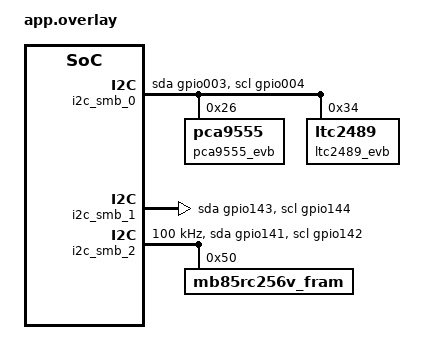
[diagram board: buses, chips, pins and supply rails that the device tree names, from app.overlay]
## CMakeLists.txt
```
# Copyright (c) 2025 Microchip Technology Inc.
#
# SPDX-License-Identifier: Apache-2.0
#
cmake_minimum_required(VERSION 3.20.0)

find_package(Zephyr REQUIRED HINTS $ENV{ZEPHYR_BASE})
project(app_i2c)

FILE(GLOB app_sources src/*.c)
target_sources(app PRIVATE ${app_sources})
```

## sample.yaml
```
sample:
  description: Microchip MEC EVB I2C V2 driver sample
  name: microchip_mec_i2c_v2
tests:
  sample.board.i2c:
    platform_allow:
      - mec172xevb_assy6906
      - mec172xmodular_assy6930
      - mec_assy6941/mec1743_qlj
      - mec_assy6941/mec1743_qsz
      - mec_assy6941/mec1753_qlj
      - mec_assy6941/mec1753_qsz
    tags: i2c
    depends_on:
      - gpio
      - pinctrl
      - i2c
```

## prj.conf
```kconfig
# Enable config log
CONFIG_STDOUT_CONSOLE=y
CONFIG_LOG=y
# default CONFIG_LOG_BUFFER_SIZE=1024
# increase since we are logging I2C driver target mode callbacks
CONFIG_LOG_BUFFER_SIZE=6144

CONFIG_DMA=y
CONFIG_I2C=y
#CONFIG_I2C_XEC_PORT_SWITCHING=y
CONFIG_I2C_TARGET=y
# this adds two more APIs.
# original byte mode target APIs are still present.
CONFIG_I2C_TARGET_BUFFER_MODE=y
# CONFIG_I2C_LOG_LEVEL_DBG=y
# CONFIG_I2C_XEC_NL_TRACE_DEBUG=y

CONFIG_PM=n
# CONFIG_PM_DEVICE=y

# debug macro expansion in C source files
# does not delete build/../source_c_file_name.c.i
# CONFIG_COMPILER_SAVE_TEMPS=y
# CONFIG_DEBUG=y
```

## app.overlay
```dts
/*
 * Copyright (c) 2025 Microchip Technology Inc.
 *
 * SPDX-License-Identifier: Apache-2.0
 */

#include <zephyr/dt-bindings/gpio/gpio.h>
#include <zephyr/dt-bindings/gpio/microchip-xec-gpio.h>

/ {
	aliases {
		i2c0 = &i2c_smb_0;
		i2c-0 = &i2c_smb_0;
		i2c1 = &i2c_smb_1;
		i2c-1 = &i2c_smb_1;
		i2c-2 = &i2c_smb_2;
		i2c2 = &i2c_smb_2;
		i2c-nl = &i2c_smb_2;
	};
};

/* Central DMA controller */
&dmac {
	compatible = "microchip,xec-dmac";
	status = "okay";
};

/* I2C Port 0 */
&i2c00_sda_gpio003 {
	drive-open-drain;
	output-enable;
	output-high;
	drive-strength = <2>;
};

&i2c00_scl_gpio004 {
	drive-open-drain;
	output-enable;
	output-high;
	drive-strength = <2>;
};

/* I2C Port 4 */
&i2c04_sda_gpio143 {
	drive-open-drain;
	output-enable;
	output-high;
	drive-strength = <2>;
};

&i2c04_scl_gpio144 {
	drive-open-drain;
	output-enable;
	output-high;
	drive-strength = <2>;
};

/* I2C Port 5 */
&i2c05_sda_gpio141 {
	drive-open-drain;
	output-enable;
	output-high;
	drive-strength = <2>;
};
&i2c05_scl_gpio142 {
	drive-open-drain;
	output-enable;
	output-high;
	drive-strength = <2>;
};

/* Zephyr will load NXP PCA9555 driver after i2c_smb_0 driver
 * Zephyr does not have a driver for ltc2489 I2C delta-sigma ADC
 */

&i2c_smb_0 {
	compatible = "microchip,xec-i2c-v2";
	status = "okay";

	port-sel = <0>;

	sda-gpios = <MCHP_GPIO_DECODE_003 0>;
	scl-gpios = <MCHP_GPIO_DECODE_004 0>;

	pinctrl-0 = <&i2c00_sda_gpio003 &i2c00_scl_gpio004>;
	pinctrl-names = "default";

	pca9555_evb: pca9555@26 {
		/* compatible = "nxp,pca9555"; */
		reg = <0x26>;
		/* ngpios = <16>; */
		/* gpio-controller; */
		/* #gpio-cells = <2>; */
	};

	ltc2489_evb: ltc2489@34 {
		reg = <0x34>;
		#io-channels-cells = <1>;
	};
};

&i2c_smb_1 {
	compatible = "microchip,xec-i2c-v2";
	status = "okay";

	port-sel = <4>;

	sda-gpios = <MCHP_GPIO_DECODE_143 0>;
	scl-gpios = <MCHP_GPIO_DECODE_144 0>;

	pinctrl-0 = <&i2c04_sda_gpio143 &i2c04_scl_gpio144>;
	pinctrl-names = "default";

};

/* I2C-NL and Central DMA controller race condition.
 * We must ensure DMA channel interrupt priorities are higher
 * than device drivers using DMA channels. The DMA driver interrupt
 * handler must run and complete before the peripheral driver using
 * DMA driver. Why? Peripheral driver may call DMA driver to reload
 * a channel from its ISR. If the DMA driver interrupt handler then
 * runs it will be out of sync with the reloaded channel!
 * Chip DTSI sets all interrupt priorities of dmac to 2.
 * We set any I2C controller using microchip,xec-i2c-nl driver to
 * priority 3 to 7(lowest).
 */

&i2c_smb_2 {
	compatible = "microchip,xec-i2c-nl";
	status = "okay";

	/* We must set I2C-NL interrupt for a lesser priority than DMA channels */
	interrupts = <22 3>;

	clock-frequency = <I2C_BITRATE_STANDARD>;

	port-sel = <5>;

	sda-gpios = <MCHP_GPIO_DECODE_141 0>;
	scl-gpios = <MCHP_GPIO_DECODE_142 0>;

	pinctrl-0 = <&i2c05_sda_gpio141 &i2c05_scl_gpio142>;
	pinctrl-names = "default";

	dmas = <&dmac 4 5>, <&dmac 5 4>;
	dma-names = "host_mode", "target_mode";

	/* Transfer buffer size defaults to 32 bytes plus internal padding.
	 * Application can change the size: xfr-buffer-size = < size_in_bytes >;
	 * Miminum size is 4 bytes. Maximum size is 0xfffc bytes.
	 */

	mb85rc256v_fram: mb85rc256v_fram@50 {
		reg = <0x50>;
		#io-channels-cells = <1>;
	};
};
```

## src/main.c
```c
/*
 * Copyright (c) 2025 Microchip Technology Inc.
 *
 * SPDX-License-Identifier: Apache-2.0
 */

#include <string.h>
#include <soc.h>

#include <zephyr/kernel.h>
#include <zephyr/device.h>
#include <zephyr/drivers/i2c.h>
#include <zephyr/drivers/i2c/mchp_xec_i2c.h>
#include <zephyr/logging/log.h>
#include <zephyr/logging/log_ctrl.h>
LOG_MODULE_REGISTER(app, CONFIG_LOG_DEFAULT_LEVEL);

#ifdef CONFIG_I2C_TARGET
#include "target_tests.h"
#endif

#define PCA9555_CMD_PORT0_IN  0
#define PCA9555_CMD_PORT1_IN  1u
#define PCA9555_CMD_PORT0_OUT 2u
#define PCA9555_CMD_PORT1_OUT 3u
#define PCA9555_CMD_PORT0_POL 4u
#define PCA9555_CMD_PORT1_POL 5u
#define PCA9555_CMD_PORT0_CFG 6u
#define PCA9555_CMD_PORT1_CFG 7u

#define PCA9555_I2C_NODE DT_NODELABEL(pca9555_evb)
#define PCA9555_I2C_PORT DT_PROP(DT_PARENT(PCA9555_I2C_NODE), port_sel)
#define PCA9555_I2C_ADDR DT_REG_ADDR(PCA9555_I2C_NODE)

#define LTC2489_I2C_NODE DT_NODELABEL(ltc2489_evb))
#define LTC2489_I2C_PORT DT_PROP(DT_PARENT(LTC2489_I2C_NODE), port_sel)
#define LTC2489_I2C_ADDR DT_REG_ADDR(DT_NODELABEL(ltc2489_evb))

#define FRAM_I2C_NODE    DT_NODELABEL(mb85rc256v_fram)
#define FRAM_I2C_PORT    DT_PROP(DT_PARENT(FRAM_I2C_NODE), port_sel)
#define FRAM_I2C_ADDR    DT_REG_ADDR(FRAM_I2C_NODE)

#define I2C0_CTRL_REG_ADDR DT_REG_ADDR(DT_ALIAS(i2c0))
#define I2C0_CTRL_PORT     DT_PROP(DT_ALIAS(i2c0), port_sel)
#define I2C1_CTRL_REG_ADDR DT_REG_ADDR(DT_ALIAS(i2c1))
#define I2C1_CTRL_PORT     DT_PROP(DT_ALIAS(i2c1), port_sel)
#define I2C2_CTRL_REG_ADDR DT_REG_ADDR(DT_ALIAS(i2c2))
#define I2C2_CTRL_PORT     DT_PROP(DT_ALIAS(i2c2), port_sel)

static const struct device *i2c0_dev = DEVICE_DT_GET(DT_ALIAS(i2c0));
static const struct device *i2c1_dev = DEVICE_DT_GET(DT_ALIAS(i2c1));
static const struct device *i2c2_dev = DEVICE_DT_GET(DT_ALIAS(i2c2));

#if 0
#if DT_HAS_COMPAT_STATUS_OKAY(microchip_xec_i2c_nl)
#define APP_HAS_I2C_NL
static const struct device *i2c_nl_dev = DEVICE_DT_GET(DT_ALIAS(i2c_nl));
#endif
#endif

volatile uint32_t spin_val;

uint8_t i2c_wr_buf[64];
uint8_t i2c_rd_buf[64];

#define TARGET_I2C_ADDR2_RX_BUF_SIZE 10
#define TARGET_I2C_ADDR2_TX_BUF_SIZE 10

uint8_t i2c0_tx_buf[256];
uint8_t i2c0_rx_buf[256];

struct i2c_msg msgs[4];

int app_exit_code;

#ifdef APP_HAS_I2C_NL
static int i2c_nl_test1(const struct device *i2c_dev);
#endif

static void pr_i2c_regs(mm_reg_t i2c_base);

int main(void)
{
	uint32_t i2c0_config = 0, i2c1_config = 0, i2c2_config = 0;
	uint16_t i2c_addr = 0;
	size_t nread = 0, nwrite = 0;
#if 0 /* def APP_HAS_I2C_NL */
	bool i2c_nl_ready = false;
#endif
	int rc = 0;
	uint8_t nmsgs = 0;

	app_exit_code = 0;

	memset(msgs, 0, sizeof(msgs));

	if (!device_is_ready(i2c0_dev)) {
		LOG_ERR("I2C 0 device [%s] not ready!", i2c0_dev->name);
		app_exit_code = 1;
		goto app_exit;
	}

	pr_i2c_regs(I2C0_CTRL_REG_ADDR);

	if (!device_is_ready(i2c1_dev)) {
		LOG_ERR("I2C 1 device [%s] not ready!", i2c1_dev->name);
		app_exit_code = 2;
		goto app_exit;
	}

	pr_i2c_regs(I2C1_CTRL_REG_ADDR);

	if (!device_is_ready(i2c2_dev)) {
		LOG_ERR("I2C 2 device [%s] not ready!", i2c2_dev->name);
		app_exit_code = 3;
		goto app_exit;
	}

	pr_i2c_regs(I2C2_CTRL_REG_ADDR);

	LOG_INF("Configure I2C 0 as controller at 100KHz");

	log_flush();

	i2c0_config = I2C_MODE_CONTROLLER | I2C_SPEED_SET(I2C_SPEED_STANDARD);
#ifdef CONFIG_I2C_XEC_PORT_MUX
	i2c0_config |= I2C_XEC_PORT_SET(I2C0_CTRL_PORT);
#endif

	rc = i2c_configure(i2c0_dev, i2c0_config);
	if (rc != 0) {
		LOG_ERR("I2C 0 device config failed");
		app_exit_code = 4;
		goto app_exit;
	}

	pr_i2c_regs(I2C0_CTRL_REG_ADDR);

	LOG_INF("Configure I2C 1 as controller at 100KHz");

	i2c1_config = I2C_MODE_CONTROLLER | I2C_SPEED_SET(I2C_SPEED_STANDARD);
#ifdef CONFIG_I2C_XEC_PORT_MUX
	i2c1_config |= I2C_XEC_PORT_SET(I2C1_CTRL_PORT);
#endif

	rc = i2c_configure(i2c1_dev, i2c1_config);
	if (rc != 0) {
		LOG_ERR("I2C 1 device config failed");
		app_exit_code = 5;
		goto app_exit;
	}

	pr_i2c_regs(I2C1_CTRL_REG_ADDR);

	LOG_INF("Configure I2C 2 as controller at 100KHz");

	i2c2_config = I2C_MODE_CONTROLLER | I2C_SPEED_SET(I2C_SPEED_STANDARD);
#ifdef CONFIG_I2C_XEC_PORT_MUX
	i2c2_config |= I2C_XEC_PORT_SET(I2C2_CTRL_PORT);
#endif

	rc = i2c_configure(i2c2_dev, i2c2_config);
	if (rc != 0) {
		LOG_ERR("I2C 2 device config failed");
		app_exit_code = 6;
		goto app_exit;
	}

	pr_i2c_regs(I2C2_CTRL_REG_ADDR);

	LOG_INF("FRAM on I2C 2: Write data");

	i2c_addr = (uint16_t)FRAM_I2C_ADDR;
	i2c_wr_buf[0] = 0x01; /* msb of 16-bit FRAM offset */
	i2c_wr_buf[1] = 0x20; /* lsb of 16-bit FRAM offset */
	i2c_wr_buf[2] = 0x11;
	i2c_wr_buf[3] = 0x12;
	i2c_wr_buf[4] = 0x13;
	i2c_wr_buf[5] = 0x14;

	msgs[0].buf = i2c_wr_buf;
	msgs[0].len = 2u;
	msgs[0].flags = I2C_MSG_WRITE;

	msgs[1].buf = &i2c_wr_buf[2];
	msgs[1].len = 4u;
	msgs[1].flags = I2C_MSG_WRITE | I2C_MSG_STOP;

	nmsgs = 2u;

	rc = i2c_transfer(i2c2_dev, msgs, nmsgs, i2c_addr);
	LOG_INF("FRAM write two message rc = %d", rc);

	LOG_INF("FRAM on I2C 2: Write-Read data");

	memset((void *)i2c_rd_buf, 0xAAU, 8U);

	i2c_addr = (uint16_t)FRAM_I2C_ADDR;
	i2c_wr_buf[0] = 0x01; /* msb of 16-bit FRAM offset */
	i2c_wr_buf[1] = 0x20; /* lsb of 16-bit FRAM offset */

	msgs[0].buf = i2c_wr_buf;
	msgs[0].len = 2u;
	msgs[0].flags = I2C_MSG_WRITE;

	msgs[1].buf = i2c_rd_buf;
	msgs[1].len = 4u;
	msgs[1].flags = I2C_MSG_RESTART | I2C_MSG_READ | I2C_MSG_STOP;

	nmsgs = 2u;

	rc = i2c_transfer(i2c2_dev, msgs, nmsgs, i2c_addr);
	LOG_INF("FRAM Write-Read two message rc = %d", rc);
	LOG_HEXDUMP_INF(i2c_rd_buf, 4U, "i2c_rd_buf");

	LOG_INF("PCA9555 on I2C 0: Read the two data registers");

	memset(i2c_rd_buf, 0x55, sizeof(i2c_rd_buf));

	i2c_addr = (uint16_t)PCA9555_I2C_ADDR;
	i2c_wr_buf[0] = PCA9555_CMD_PORT0_IN;

	nread = 2u;
	nwrite = 1u;

	rc = i2c_write_read(i2c0_dev, i2c_addr, (const void *)i2c_wr_buf, nwrite,
			    (void *)i2c_rd_buf, nread);
	if (rc != 0) {
		LOG_ERR("i2c_write_read error (%d)", rc);
		app_exit_code = 7;
		goto app_exit;
	}

	LOG_INF("PCA9555 Input Port0 = 0x%02X  Port1 = 0x%02X", i2c_rd_buf[0], i2c_rd_buf[1]);

#if 0
#ifdef APP_HAS_I2C_NL
	rc = i2c_nl_test1(i2c_nl_dev);
	LOG_INF("I2C-NL test 1 returned (%d)", rc);
#endif

#if defined(CONFIG_I2C_TARGET) && defined(APP_HAS_I2C_NL)
	rc = target_i2c_nl_prepare_tests(i2c0_dev);
	LOG_INF("Target I2C-NL prepare returned (%d)", rc);

	rc = target_i2c_nl_run_tests(i2c0_dev);
	LOG_INF("Target I2C-NL run tests returned (%d)", rc);
#endif
#endif

app_exit:
	LOG_INF("Program End");
	log_flush();

	return 0;
}

#ifdef APP_HAS_I2C_NL
#define TEST_ORDER_WR_RD
 /* HW issue exists independent of transaction order. */

static int i2c_nl_test1(const struct device *i2c_dev)
{
	struct i2c_msg msgs[4] = {0};
	int rc = 0;
	uint16_t i2c_addr = 0;
	uint8_t nmsgs = 0;

	fill_buf(i2c0_tx_buf, 16u, 0x11u, 1u);

#ifdef TEST_ORDER_WR_RD
	LOG_INF("Test I2C-NL one write message");
	i2c_addr = FRAM_I2C_ADDR;
	nmsgs = 1u;

	msgs[0].buf = i2c0_tx_buf;
	msgs[0].len = 4u;
	msgs[0].flags = I2C_MSG_WRITE | I2C_MSG_STOP;

	rc = i2c_transfer(i2c_dev, msgs, nmsgs, i2c_addr);
	LOG_INF("  API returned (%d)", rc);

	LOG_INF("Test I2C-NL one read message");
	memset((void *)i2c0_rx_buf, 0xAA, 8);

	i2c_addr = FRAM_I2C_ADDR;
	nmsgs = 1u;

	msgs[0].buf = i2c0_rx_buf;
	msgs[0].len = 4u;
	msgs[0].flags = I2C_MSG_READ | I2C_MSG_STOP;

	rc = i2c_transfer(i2c_dev, msgs, nmsgs, i2c_addr);
	LOG_INF("  API returned (%d)", rc);
#else
	LOG_INF("Test I2C-NL one read message");
	memset((void *)i2c0_rx_buf, 0xAA, 8);

	i2c_addr = FRAM_I2C_ADDR;
	nmsgs = 1u;

	msgs[0].buf = i2c0_rx_buf;
	msgs[0].len = 4u;
	msgs[0].flags = I2C_MSG_READ | I2C_MSG_STOP;

	rc = i2c_transfer(i2c_dev, msgs, nmsgs, i2c_addr);
	LOG_INF("  API returned (%d)", rc);

	LOG_INF("Test I2C-NL one write message");
	i2c_addr = FRAM_I2C_ADDR;
	nmsgs = 1u;

	msgs[0].buf = i2c0_tx_buf;
	msgs[0].len = 4u;
	msgs[0].flags = I2C_MSG_WRITE | I2C_MSG_STOP;

	rc = i2c_transfer(i2c_dev, msgs, nmsgs, i2c_addr);
	LOG_INF("  API returned (%d)", rc);
#endif
	LOG_INF("Test I2C-NL two write messages");
	i2c_addr = FRAM_I2C_ADDR;
	nmsgs = 2u;

	msgs[0].buf = i2c0_tx_buf;
	msgs[0].len = 2u;
	msgs[0].flags = I2C_MSG_WRITE;

	msgs[1].buf = &i2c0_tx_buf[2];
	msgs[1].len = 4u;
	msgs[1].flags = I2C_MSG_WRITE | I2C_MSG_STOP;

	rc = i2c_transfer(i2c_dev, msgs, nmsgs, i2c_addr);
	LOG_INF("  API returned (%d)", rc);

	LOG_INF("Test I2C-NL Write-Read");
	i2c_addr = FRAM_I2C_ADDR;
	nmsgs = 2u;

	msgs[0].buf = i2c0_tx_buf;
	msgs[0].len = 2u;
	msgs[0].flags = I2C_MSG_WRITE;

	msgs[1].buf = i2c0_rx_buf;
	msgs[1].len = 8u;
	msgs[1].flags = I2C_MSG_READ | I2C_MSG_STOP;

	rc = i2c_transfer(i2c_dev, msgs, nmsgs, i2c_addr);
	LOG_INF("  API returned (%d)", rc);

	LOG_INF("Test I2C-NL Write message > driver xfrbuf size");
	fill_buf(i2c0_tx_buf, 66u, 0, 1);

	i2c_addr = FRAM_I2C_ADDR;
	nmsgs = 1u;

	msgs[0].buf = i2c0_tx_buf;
	msgs[0].len = 66u;
	msgs[0].flags = I2C_MSG_WRITE | I2C_MSG_STOP;

	rc = i2c_transfer(i2c_dev, msgs, nmsgs, i2c_addr);
	LOG_INF("  API returned (%d)", rc);

	/* Large Write-Write */
	LOG_INF("Test I2C-NL Write-Write 64 bytes to FRAM address 0x2000");
	i2c_addr = FRAM_I2C_ADDR;
	nmsgs = 2u;

	fill_buf(&i2c0_tx_buf[2], 64, 0, 1);

	i2c0_tx_buf[0] = 0x20u; /* address MSB */
	i2c0_tx_buf[1] = 0u; /* address LSB */

	msgs[0].buf = i2c0_tx_buf;
	msgs[0].len = 2u;
	msgs[0].flags = I2C_MSG_WRITE;

	msgs[1].buf = &i2c0_tx_buf[2];
	msgs[1].len = 64u;
	msgs[1].flags = I2C_MSG_WRITE | I2C_MSG_STOP;

	rc = i2c_transfer(i2c_dev, msgs, nmsgs, i2c_addr);
	LOG_INF("  API returned (%d)", rc);


	/* Large Write-Read */
	LOG_INF("Test I2C-NL Write-Read 64 bytes from FRAM address 0x2000");
	i2c_addr = FRAM_I2C_ADDR;
	nmsgs = 2u;

	fill_buf(i2c0_rx_buf, 64, 0x55, 0);

	i2c0_tx_buf[0] = 0x20u; /* address MSB */
	i2c0_tx_buf[1] = 0u; /* address LSB */

	msgs[0].buf = i2c0_tx_buf;
	msgs[0].len = 2u;
	msgs[0].flags = I2C_MSG_WRITE;

	msgs[1].buf = i2c0_rx_buf;
	msgs[1].len = 64u;
	msgs[1].flags = I2C_MSG_READ | I2C_MSG_STOP;

	rc = i2c_transfer(i2c_dev, msgs, nmsgs, i2c_addr);
	LOG_INF("  API returned (%d)", rc);

	rc = memcmp(&i2c0_tx_buf[2], i2c0_rx_buf, 64);
	LOG_INF("Mem compare 64 byte TX data with RX data is (%d)", rc);

	return 0;
}
#endif /* APP_HAS_I2C_NL */

static void pr_i2c_regs(mm_reg_t i2c_base)
{
	if (i2c_base == 0) {
		return;
	}

	LOG_INF("I2C controller @ 0x%08x", (uint32_t)i2c_base);
	LOG_INF("  Status(RO) = 0x%02x", sys_read8(i2c_base));
	LOG_INF("  OwnAddr    = 0x%08x", sys_read32(i2c_base + 4u));
	LOG_INF("  HCMD       = 0x%08x", sys_read32(i2c_base + 0x0cu));
	LOG_INF("  TCMD       = 0x%08x", sys_read32(i2c_base + 0x10u));
	LOG_INF("  PEC        = 0x%02x", sys_read8(i2c_base + 0x14u));
	LOG_INF("  RPSH       = 0x%08x", sys_read32(i2c_base + 18u));
	LOG_INF("  EXTLEN     = 0x%08x", sys_read32(i2c_base + 0x1cu));
	LOG_INF("  CMPL       = 0x%08x", sys_read32(i2c_base + 0x20u));
	LOG_INF("  ISCL       = 0x%08x", sys_read32(i2c_base + 0x24u));
	LOG_INF("  CONFIG     = 0x%08x", sys_read32(i2c_base + 0x28u));
	LOG_INF("  BUSCLK     = 0x%08x", sys_read32(i2c_base + 0x2cu));
	LOG_INF("  BLKID      = 0x%08x", sys_read32(i2c_base + 0x30u));
	LOG_INF("  REVID      = 0x%08x", sys_read32(i2c_base + 0x34u));
	LOG_INF("  BBCR       = 0x%08x", sys_read32(i2c_base + 0x38u));
	LOG_INF("  MRSVD1     = 0x%08x", sys_read32(i2c_base + 0x3cu));
	LOG_INF("  DATTM      = 0x%08x", sys_read32(i2c_base + 0x40u));
	LOG_INF("  TMOSC      = 0x%08x", sys_read32(i2c_base + 0x44u));
	LOG_INF("  I2CFSM     = 0x%08x", sys_read32(i2c_base + 0x58u));
	LOG_INF("  NLFSM      = 0x%08x", sys_read32(i2c_base + 0x5cu));
	LOG_INF("  WKSR       = 0x%08x", sys_read32(i2c_base + 0x60u));
	LOG_INF("  WKEN       = 0x%08x", sys_read32(i2c_base + 0x64u));
	LOG_INF("  SHAD_ADDR  = 0x%08x", sys_read32(i2c_base + 0x68u));
	LOG_INF("  PROMSR     = 0x%08x", sys_read32(i2c_base + 0x70u));
	LOG_INF("  PROMIER    = 0x%08x", sys_read32(i2c_base + 0x74u));
	LOG_INF("  PROMCR     = 0x%08x", sys_read32(i2c_base + 0x78u));
	LOG_INF("  SHAD_DATA  = 0x%08x", sys_read32(i2c_base + 0x7Cu));
	log_flush();
}
```

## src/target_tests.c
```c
/*
 * Copyright (c) 2025 Microchip Technology Inc.
 *
 * SPDX-License-Identifier: Apache-2.0
 */

#include <zephyr/drivers/i2c.h>
#include <zephyr/drivers/i2c/mchp_xec_i2c.h>
#include <zephyr/logging/log.h>
#include "target_tests.h"

LOG_MODULE_DECLARE(app);

#if 0 /* comment everything out */

/* ISSUE:
 * CONFIG_I2C_TARGET and CONFIG_I2C_TARGET_BUFFER_MODE are global kconfig's
 *
 */
#if 0 /* unused at this time */
static const struct device *i2c1_dev = DEVICE_DT_GET(DT_ALIAS(i2c1));
#endif

#if DT_HAS_COMPAT_STATUS_OKAY(microchip_xec_i2c_nl)
#define APP_HAS_I2C_NL
static const struct device *i2c_target_dev = DEVICE_DT_GET(DT_ALIAS(i2c_nl));
#else
static const struct device *i2c_target_dev = DEVICE_DT_GET(DT_ALIAS(i2c1));
#endif

static struct i2c_target_config i2c1_target;
static struct i2c_target_config i2c2_target;
static volatile uint32_t i2c1_target_wr_req_cb_cnt;
static volatile uint32_t i2c1_target_rd_req_cb_cnt;
static volatile uint32_t i2c1_target_wr_recv_cb_cnt;
static volatile uint32_t i2c1_target_rd_proc_cb_cnt;
static volatile uint32_t i2c1_target_stop_cb_cnt;
#ifdef CONFIG_I2C_TARGET_BUFFER_MODE
static volatile uint32_t i2c2_target_buf_wr_recv_cb_cnt;
static volatile uint32_t i2c2_target_buf_rd_req_cb_cnt;
static volatile uint32_t i2c2_target_stop_cb_cnt;
#endif

static int i2c1_target_write_requested_cb(struct i2c_target_config *config);
static int i2c1_target_read_requested_cb(struct i2c_target_config *config, uint8_t *val);
static int i2c1_target_write_received_cb(struct i2c_target_config *config, uint8_t val);
static int i2c1_target_read_processed_cb(struct i2c_target_config *config, uint8_t *val);
static int i2c1_target_stop_cb(struct i2c_target_config *config);

static int i2c2_target_stop_cb(struct i2c_target_config *config);

#ifdef CONFIG_I2C_TARGET_BUFFER_MODE

#define I2C2_TM_HOST_WR_BUF_SIZE 128u
#define I2C2_TM_HOST_RD_BUF_SIZE 48u

uint8_t *i2c_tm_host_wr_buf_ptr;
uint8_t *i2c_tm_host_rd_buf_ptr;
uint8_t i2c_tm_host_wr_buf[I2C2_TM_HOST_WR_BUF_SIZE];
uint8_t i2c_tm_host_rd_buf[I2C2_TM_HOST_RD_BUF_SIZE];

static void i2c2_target_buf_write_received_cb(struct i2c_target_config *config, uint8_t *ptr,
					      uint32_t len);
static int i2c2_target_buf_read_requested_cb(struct i2c_target_config *config, uint8_t **ptr,
					     uint32_t *len);
#endif

const struct i2c_target_callbacks i2c_byte_mode_callbacks = {
	.write_requested = i2c1_target_write_requested_cb,
	.read_requested = i2c1_target_read_requested_cb,
	.write_received = i2c1_target_write_received_cb,
	.read_processed = i2c1_target_read_processed_cb,
#ifdef CONFIG_I2C_TARGET_BUFFER_MODE
	.buf_write_received = NULL,
	.buf_read_requested = NULL,
#endif
	.stop = i2c1_target_stop_cb,
};

const struct i2c_target_callbacks i2c_buffer_mode_callbacks = {
	.write_requested = NULL,
	.read_requested = NULL,
	.write_received = NULL,
	.read_processed = NULL,
#ifdef CONFIG_I2C_TARGET_BUFFER_MODE
	.buf_write_received = i2c2_target_buf_write_received_cb,
	.buf_read_requested = i2c2_target_buf_read_requested_cb,
#endif
	.stop = i2c2_target_stop_cb,
};

struct xec_i2c_info {
	const struct device *dev;
	uint32_t flags;
	uint8_t port;
};

#define XEC_I2C_V2_INFO(nid)                                                                       \
	{                                                                                          \
		.dev = DEVICE_DT_GET(nid),                                                         \
		.flags = 0,                                                                        \
		.port = DT_PROP(nid, port_sel),                                                    \
	},

#define XEC_I2C_NL_INFO(nid)                                                                       \
	{                                                                                          \
		.dev = DEVICE_DT_GET(nid),                                                         \
		.flags = BIT(0),                                                                   \
		.port = DT_PROP(nid, port_sel),                                                    \
	},

const struct xec_i2c_info i2c_xec_driver_devices[] = {
	DT_FOREACH_STATUS_OKAY(microchip_xec_i2c_v2, XEC_I2C_V2_INFO)
	DT_FOREACH_STATUS_OKAY(microchip_xec_i2c_nl, XEC_I2C_NL_INFO)};

const struct device *find_first_i2c_nl_device(void)
{
	for (size_t n = 0; n < ARRAY_SIZE(i2c_xec_driver_devices); n++) {
		const struct xec_i2c_info *p = &i2c_xec_driver_devices[n];

		if (p->flags & BIT(0)) {
			return p->dev;
		}
	}

	return NULL;
}

const struct xec_i2c_info *find_i2c_info(const struct device *i2c_dev)
{
	if (i2c_dev == NULL) {
		return NULL;
	}

	for (size_t n = 0; n < ARRAY_SIZE(i2c_xec_driver_devices); n++) {
		const struct xec_i2c_info *p = &i2c_xec_driver_devices[n];

		if (p->dev == i2c_dev) {
			return p;
		}
	}

	return NULL;
}

void clear_target_cb_counts(void)
{
	i2c1_target_wr_req_cb_cnt = 0;
	i2c1_target_rd_req_cb_cnt = 0;
	i2c1_target_wr_recv_cb_cnt = 0;
	i2c1_target_rd_proc_cb_cnt = 0;
	i2c1_target_stop_cb_cnt = 0;
#ifdef CONFIG_I2C_TARGET_BUFFER_MODE
	i2c2_target_buf_wr_recv_cb_cnt = 0;
	i2c2_target_buf_rd_req_cb_cnt = 0;
	i2c2_target_stop_cb_cnt = 0;
#endif
}

void reset_target_read_buf(void)
{
	i2c_tm_host_rd_buf_ptr = i2c_tm_host_rd_buf;
}

void reset_target_write_buf(void)
{
	i2c_tm_host_wr_buf_ptr = i2c_tm_host_wr_buf;
}

int target_config(const struct device *i2c_dev, uint16_t targ_addr)
{
	struct i2c_target_config *tc = NULL;
	const struct xec_i2c_info *p = NULL;
	size_t n = 0;

	if (targ_addr > 0x7Fu) {
		LOG_ERR("MEC I2C HW does not support 10-bit I2C addressing");
		return -EINVAL;
	}

	for (n = 0; n < ARRAY_SIZE(i2c_xec_driver_devices); n++) {
		p = &i2c_xec_driver_devices[n];

		if (p->dev == i2c_dev) {
			if ((p->flags & BIT(0)) != 0) {
				tc = &i2c2_target;
				tc->callbacks = &i2c_buffer_mode_callbacks;
			} else {
				tc = &i2c1_target;
				tc->callbacks = &i2c_byte_mode_callbacks;
			}
			break;
		}
	}

	if (tc == NULL) {
		return -EINVAL;
	}

	tc->address = targ_addr;
	tc->flags = 0; /* HW does not support 10-bit I2C addresses */

	return i2c_target_register(i2c_dev, tc);
}

int i2c_nl_target_test1(const struct device *host_i2c_dev, const struct device *targ_i2c_dev,
			uint16_t targ_i2c_addr)
{
	int rc = 0;
	const uint8_t buf[16] = {0x11u, 0x12u, 0x13u, 0x14u, 0x15u, 0x16u, 0x17u, 0x18u,
				 0x19u, 0x1Au, 0x1Bu, 0x1Cu, 0x1Du, 0x1Eu, 0x1Fu, 0x20u};

	i2c_mchp_xec_nl_debug_init(targ_i2c_dev);

	rc = i2c_write(host_i2c_dev, buf, 16, targ_i2c_addr);
	LOG_INF("i2c write %u bytes to I2C target address 0x%0x returned (%d)", 16, targ_i2c_addr,
		rc);

	return rc;
}

int i2c_nl_target_test2(const struct device *host_i2c_dev, const struct device *targ_i2c_dev,
			uint16_t targ_i2c_addr)
{
	int rc = 0;
	const uint8_t wrbuf[2] = {0x20, 0x00u};
	uint8_t rdbuf[4] = {0};

	i2c_mchp_xec_nl_debug_init(targ_i2c_dev);

	rc = i2c_write_read(host_i2c_dev, targ_i2c_addr, wrbuf, 2, rdbuf, 4u);
	LOG_INF("i2c write-read at address 0x%0x nwr=2 nr=4 returned (%d)", targ_i2c_addr, rc);

	return rc;
}

int i2c_nl_target_test3(const struct device *host_i2c_dev, const struct device *targ_i2c_dev,
			uint16_t targ_i2c_addr)
{
	int rc = 0;
	uint32_t nread = 16u;
	uint8_t rdbuf[16] = {0x55u};

	i2c_mchp_xec_nl_debug_init(targ_i2c_dev);

	rc = i2c_read(host_i2c_dev, rdbuf, nread, targ_i2c_addr);
	LOG_INF("i2c read of %u bytes at address 0x%0x returned (%d)", nread, targ_i2c_addr, rc);

	rc = memcmp(rdbuf, i2c_tm_host_rd_buf, nread);
	LOG_INF("i2c read of %u bytes data match result(0 is match): (%d)", nread, rc);

	return rc;
}

int get_i2c_port(const struct device *i2c_dev, uint8_t *port)
{
#ifdef CONFIG_I2C_XEC_PORT_MUX
	uint32_t i2c_cfg = 0;

	if ((i2c_dev == NULL) || (i2c_get_config(i2c_dev, &i2c_cfg) != 0)) {
		return -EINVAL;
	}

	*port = I2C_XEC_PORT_GET(i2c_cfg);
#else
	const struct xec_i2c_info *p = find_i2c_info(i2c_dev);

	if ((p == NULL) || (port == NULL)) {
		return -EINVAL;
	}

	*port = p->port;
#endif
	return 0;
}

int target_i2c_nl_prepare_tests(const struct device *i2c_host_dev)
{
	int rc = 0;
	uint32_t host_i2c_cfg = 0, targ_i2c_cfg = 0, new_cfg = 0;
	uint32_t host_speed = 0, targ_speed = 0, desired_speed = 0;
	uint8_t host_port = 0, targ_port = 0;
	bool reconfig = false;

	if (i2c_host_dev == NULL) {
		return -EINVAL;
	}

	i2c_get_config(i2c_host_dev, &host_i2c_cfg);
	i2c_get_config(i2c_target_dev, &targ_i2c_cfg);

	host_speed = I2C_SPEED_GET(host_i2c_cfg);
	targ_speed = I2C_SPEED_GET(targ_i2c_cfg);

	get_i2c_port(i2c_host_dev, &host_port);
	get_i2c_port(i2c_target_dev, &targ_port);

	if (host_speed != targ_speed) {
		reconfig = true;
		desired_speed = MIN(host_speed, targ_speed);
		new_cfg |= I2C_SPEED_SET(desired_speed);
	} else {
		new_cfg |= I2C_SPEED_SET(host_speed);
	}

#ifdef CONFIG_I2C_XEC_PORT_MUX
	new_cfg |= I2C_XEC_PORT_SET((uint32_t)targ_port);
	if (host_port != targ_port) {
		reconfig = true;
	}
#else
	if (host_port != targ_port) {
		LOG_ERR("Host and target I2C ports are different and no port mux support");
		return -EIO;
	}
#endif

	if (reconfig == true) {
		LOG_INF("Reconfiguration required!");
		new_cfg |= I2C_MODE_CONTROLLER;
		rc = i2c_configure(i2c_host_dev, new_cfg);
		if (rc != 0) {
			LOG_ERR("Host I2C reconfig error (%d)", rc);
			return rc;
		}
		rc = i2c_configure(i2c_target_dev, new_cfg);
		if (rc != 0) {
			LOG_ERR("Target I2C reconfig error (%d)", rc);
			return rc;
		}
	}

	rc = target_config(i2c_target_dev, I2C2_TARG_ADDR1);
	if (rc != 0) {
		LOG_ERR("Register address 0x%0x with I2C-NL failed (%d)", I2C2_TARG_ADDR1, rc);
		return rc;
	}

#ifdef CONFIG_I2C_TARGET_BUFFER_MODE
	i2c_tm_host_wr_buf_ptr = i2c_tm_host_wr_buf;
	i2c_tm_host_rd_buf_ptr = i2c_tm_host_rd_buf;

	memset(i2c_tm_host_wr_buf, 0x55, I2C2_TM_HOST_WR_BUF_SIZE);
	for (uint32_t n = 0; n < I2C2_TM_HOST_RD_BUF_SIZE; n++) {
		i2c_tm_host_rd_buf[n] = (uint8_t)(n & 0xffu);
	}
#endif
	return 0;
}

int target_i2c_nl_run_tests(const struct device *i2c_host_dev)
{
	int rc = 0;

	if (i2c_host_dev == NULL) {
		return -EINVAL;
	}

	clear_target_cb_counts();
	i2c_mchp_xec_nl_debug_init(i2c_target_dev);

	rc = i2c_nl_target_test1(i2c_host_dev, i2c_target_dev, I2C2_TARG_ADDR1);
	LOG_INF("I2C-NL target test 1 returned (%d)", rc);

	clear_target_cb_counts();
	reset_target_read_buf();
	reset_target_write_buf();
	i2c_mchp_xec_nl_debug_init(i2c_target_dev);

	rc = i2c_nl_target_test2(i2c_host_dev, i2c_target_dev, I2C2_TARG_ADDR1);
	LOG_INF("I2C-NL target test 2 returned (%d)", rc);

	clear_target_cb_counts();
	reset_target_read_buf();
	reset_target_write_buf();
	i2c_mchp_xec_nl_debug_init(i2c_target_dev);

	rc = i2c_nl_target_test3(i2c_host_dev, i2c_target_dev, I2C2_TARG_ADDR1);
	LOG_INF("I2C-NL target test 3 returned (%d)", rc);

	return rc;
}

/* Invoked by I2C driver when a START with matching target write address is received.
 * Return 0 to inform the driver to the transaction. HW has auto-ACK'd the address..
 * Return <0(error) informing the driver to not respond. The driver will clear auto-ACK
 * so future bytes transmitted by the external Host will be NACK'd. No callbacks on
 * data bytes will be invoked. Driver will invoke STOP callback.
 */
static int i2c1_target_write_requested_cb(struct i2c_target_config *config)
{
	i2c1_target_wr_req_cb_cnt++;

	return 0; /* TODO */
}

/* Invoked by I2C driver when a START with matching target read address is receivied.
 * Return 0 with val = data byte for external Host if app accepts the read request.
 * Return < 0(error code) if app wants driver to not respond. In our case HW address
 * matching has ACK'd the address. Our driver will supply 0xFF as data and not make
 * further callbacks until external Host issues STOP. Driver will invoke the STOP
 * callback.
 */
static int i2c1_target_read_requested_cb(struct i2c_target_config *config, uint8_t *val)
{
	i2c1_target_rd_req_cb_cnt++;

	return 0; /* TODO */
}

/* Invokded by I2C driver when a data byte is received and ACK'd by the driver.
 * Return 0 informs the driver to ACK the next data byte from the external Host.
 * Return <0(error) informing the driver to NACK all future data bytes. No more
 *        data callbacks will be made. Expect driver to issue STOP callback when
 *        external Host gives up and issues STOP.
 */
static int i2c1_target_write_received_cb(struct i2c_target_config *config, uint8_t val)
{
	i2c1_target_wr_recv_cb_cnt++;

	return 0; /* TODO */
}

/* Invokded by I2C driver when it needs a data byte to service external Host read.
 * Return 0 with val pointing to data for driver to provide to external Host.
 * Return <0(error) indicating no more data for external Host. Driver will supply
 *        0xFF to external Host. Driver will make this callback again. Only STOP
 *        callback will be issued.
 */
static int i2c1_target_read_processed_cb(struct i2c_target_config *config, uint8_t *val)
{
	i2c1_target_rd_proc_cb_cnt++;

	return 0; /* TODO */
}

/* Invoked by the driver when it detects STOP generated by external Host
 * Should the driver issue this callback on other conditions such as:
 * I2C bus error or I2C lost arbitration? This is the only callback informing
 * the application the current transfer has ended.
 * Driver ignores the return value per i2c.h documentation.
 */
static int i2c1_target_stop_cb(struct i2c_target_config *config)
{
	i2c1_target_stop_cb_cnt++;

	return 0;
}

static int i2c2_target_stop_cb(struct i2c_target_config *config)
{
	i2c2_target_stop_cb_cnt++;

	return 0;
}

#ifdef CONFIG_I2C_TARGET_BUFFER_MODE

/* Invoked by the driver upon reception of data from the external Host when:
 * drivers internal buffer is full or STOP received before internal buffer is full.
 * Driver passes a pointer to its internal buffer and length of data received.
 * The app MUST copy this data or process it before returning. Upon return, the
 * driver will stop clock stretching allowing the external Host to continue the
 * transaction.
 */
static void i2c2_target_buf_write_received_cb(struct i2c_target_config *config, uint8_t *ptr,
					      uint32_t len)
{
	uint32_t ncopy = 0;

	i2c2_target_buf_wr_recv_cb_cnt++;

	ncopy = sizeof(i2c_tm_host_wr_buf) -
		((uint32_t)(i2c_tm_host_wr_buf_ptr - i2c_tm_host_wr_buf));

	if (len < ncopy) {
		ncopy = len;
	}

	memcpy(i2c_tm_host_wr_buf_ptr, ptr, ncopy);
	i2c_tm_host_wr_buf_ptr += ncopy;
}

/* Invoked by the driver when it needs data to supply an ongoing Host read.
 * Return 0 and supply pointer to app buffer and fill in length. Driver uses
 * the buffer to supply bytes to Host.
 * Return <0 if app has no more data. Driver supply dummy data to external
 * Host until the Host issues STOP.
 *
 */
static int i2c2_target_buf_read_requested_cb(struct i2c_target_config *config, uint8_t **ptr,
					     uint32_t *len)
{
	uint8_t *buf_end = i2c_tm_host_rd_buf + sizeof(i2c_tm_host_rd_buf);
	uint32_t rem_buf_len = 0;

	i2c2_target_buf_rd_req_cb_cnt++;

	if ((ptr == NULL) || (len == NULL)) {
		return -EINVAL;
	}

	if (i2c_tm_host_rd_buf_ptr < buf_end) {
		rem_buf_len = (uint32_t)(buf_end - i2c_tm_host_rd_buf_ptr);
	}

	if (rem_buf_len != 0) {
		*ptr = i2c_tm_host_rd_buf_ptr;
		*len = rem_buf_len;
		i2c_tm_host_rd_buf_ptr += rem_buf_len;
	} else {
		*ptr = NULL;
		*len = 0u;
	}

	return 0;
}
#endif /* CONFIG_I2C_TARGET_BUFFER_MODE */

#endif /* 0 everything */
```
